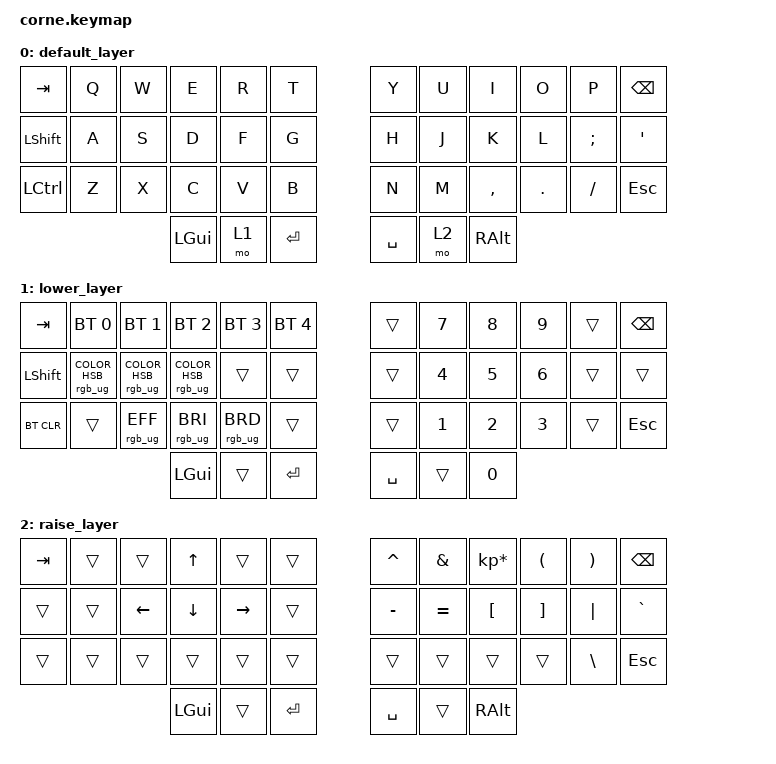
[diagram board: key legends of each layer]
/*
 * Copyright (c) 2020 The ZMK Contributors
 *
 * SPDX-License-Identifier: MIT
 */

#include <behaviors.dtsi>
#include <dt-bindings/zmk/bt.h>
#include <dt-bindings/zmk/keys.h>
#include <dt-bindings/zmk/rgb.h>

// So this needed to be above the / node!?

&led_strip { chain-length = <27>; };

/ {
    keymap {
        compatible = "zmk,keymap";

        default_layer {
            // -----------------------------------------------------------------------------------------
            // |  TAB |  Q  |  W  |  E  |  R  |  T  |        |  Y  |  U   |  I  |  O  |  P  | BKSP |
            // | SHFT |  A  |  S  |  D  |  F  |  G  |        |  H  |  J   |  K  |  L  |  ;  |  '   |
            // | CTRL |  Z  |  X  |  C  |  V  |  B  |        |  N  |  M   |  ,  |  .  |  /  | ESC  |
            //                    | GUI | LWR | ENT |        | SPC | RSE  | ALT |

            bindings = <
&kp TAB           &kp Q  &kp W  &kp E     &kp R  &kp T        &kp Y      &kp U  &kp I      &kp O    &kp P     &kp BSPC
&kp LEFT_SHIFT    &kp A  &kp S  &kp D     &kp F  &kp G        &kp H      &kp J  &kp K      &kp L    &kp SEMI  &kp SQT
&kp LEFT_CONTROL  &kp Z  &kp X  &kp C     &kp V  &kp B        &kp N      &kp M  &kp COMMA  &kp DOT  &kp FSLH  &kp ESCAPE
                                &kp LGUI  &mo 1  &kp ENTER    &kp SPACE  &mo 2  &kp RALT
            >;
        };

        lower_layer {
            // -----------------------------------------------------------------------------------------
            // |  ESC | BT1 | BT2 | BT3 | BT4 | BT5 |          |     |  7  |  8  |  9  |     | BKSP |
            // | SHFT |     |     | UP  |     |     |          |     |  4  |  5  |  6  |     |      |
            // | BTCLR|     |LEFT |DOWN |RIGHT|     |          |     |  1  |  2  |  3  |     | ESC  |
            //                    | GUI |     | ENT |          | SPC |  0  | ALT |

            bindings = <
&kp TAB     &bt BT_SEL 0                       &bt BT_SEL 1                       &bt BT_SEL 2                       &bt BT_SEL 3     &bt BT_SEL 4    &trans     &kp N7        &kp N8  &kp N9  &trans  &kp BSPC
&kp LSHFT   &rgb_ug RGB_COLOR_HSB(177,100,49)  &rgb_ug RGB_COLOR_HSB(109,100,48)  &rgb_ug RGB_COLOR_HSB(287,100,42)  &trans           &trans          &trans     &kp NUMBER_4  &kp N5  &kp N6  &trans  &trans
&bt BT_CLR  &trans                             &rgb_ug RGB_EFF                    &rgb_ug RGB_BRI                    &rgb_ug RGB_BRD  &trans          &trans     &kp N1        &kp N2  &kp N3  &trans  &kp ESC
                                                                                  &kp LGUI                           &trans           &kp ENTER       &kp SPACE  &trans        &kp N0
            >;
        };

        raise_layer {
            // -----------------------------------------------------------------------------------------
            // |  ESC |  !  |  @  |  #  |  $  |  %  |         |  ^  |  &  |  *  |  (  |  )  | BKSP |
            // | SHFT |     |     |     |     |     |         |  -  |  =  |  {  |  }  | "|" |  `   |
            // | CTRL |     |     |     |     |     |         |  _  |  +  |  [  |  ]  |  \  |  ESC | // TODO: Fix this row when &mkp is committed
            //                    | GUI |     | ENT |         | SPC |     | ALT |

            bindings = <
&kp TAB  &trans  &trans    &kp UP    &trans     &trans       &kp CARET  &kp AMPS   &kp KP_MULTIPLY  &kp LPAR  &kp RPAR  &kp BSPC
&trans   &trans  &kp LEFT  &kp DOWN  &kp RIGHT  &trans       &kp MINUS  &kp EQUAL  &kp LBKT         &kp RBKT  &kp PIPE  &kp GRAVE
&trans   &trans  &trans    &trans    &trans     &trans       &trans     &trans     &trans           &trans    &kp BSLH  &kp ESC
                           &kp LGUI  &trans     &kp ENTER    &kp SPACE  &trans     &kp RALT
            >;
        };
    };
};

&nice_view_spi {
    cs-gpios = <&gpio1 1 GPIO_ACTIVE_HIGH>;
};
